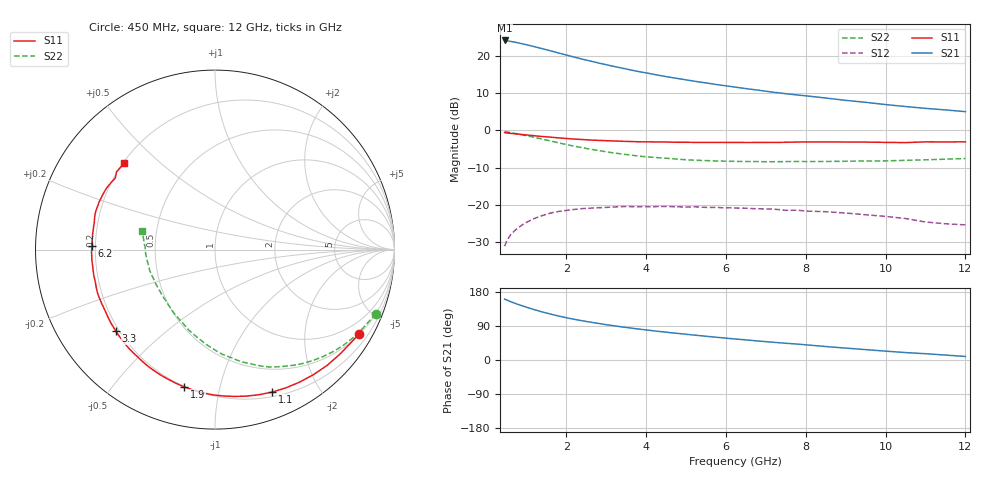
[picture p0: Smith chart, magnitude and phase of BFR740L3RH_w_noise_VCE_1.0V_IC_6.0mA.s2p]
! (c) 2012  Infineon Technologies AG, Munich
! Infineon Technologies  Discrete & RF Semiconductors
! BFR740L3RH
! VCE =  1.0 V,  IC =  6.0 mA
! Common Emitter S-Parameters:  May 2012
# GHz  S  MA  R  50
!  f  S11  S21  S12  S22
! GHz  MAG  ANG  MAG  ANG  MAG  ANG  MAG  ANG
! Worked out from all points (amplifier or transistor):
!   85 points, 450 MHz to 12 GHz, reference 50 ohm
!   highest |S21| = 24.1 dB at 450 MHz (marker M1)
!   |S21| within 3 dB of that: start of sweep to 1.678 GHz
!   unconditionally stable (mu >= 1): 9.051 GHz to end of sweep
!   at 1.8 GHz: K = 0.14, MSG = 21.2 dB, |S12| = -21.8 dB
!   at 4.6 GHz: K = 0.39, MSG = 17.3 dB, |S12| = -20.4 dB
!   at 12 GHz: K = 2.03, MAG = 9.4 dB, |S12| = -25.4 dB
!   lowest NFmin = 0.43 dB at 450 MHz
!   S11 on the Smith chart (normalised r, x): 450 MHz: 0.52, -3.59; 1.1 GHz: 0.25, -1.45; 1.9 GHz: 0.20, -0.78; 3.3 GHz: 0.19, -0.35; 6.2 GHz: 0.19, +0.01; 12 GHz: 0.20, +0.39
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0.45  0.9292 -30.6  15.98 160.6  0.028 68.4  0.9633 -21.7
0.6  0.9079 -39.8  15.53 154.0  0.0399 65.8  0.9311 -28.5
0.7  0.8979 -46.0  15.18 150.0  0.045 62.7  0.9116 -32.8
0.9  0.8761 -57.4  14.39 142.6  0.0544 56.9  0.8687 -41.0
1.1  0.8554 -68.1  13.59 135.9  0.0623 50.6  0.8245 -48.5
1.2  0.8452 -73.0  13.19 132.7  0.0659 47.7  0.8024 -52.2
1.4  0.8253 -82.5  12.37 126.6  0.0721 42.4  0.7593 -58.8
1.7  0.8004 -95.1  11.23 118.6  0.08 35.8  0.6996 -68.2
1.9  0.784 -102.7  10.52 113.7  0.0829 32.5  0.6605 -73.6
2.1  0.7686 -109.6  9.859 109.3  0.0859 28.6  0.6273 -78.8
2.4  0.7515 -118.7  8.972 103.5  0.0893 23.7  0.5845 -86.0
2.8  0.7326 -129.1  7.989 96.5  0.0917 18.3  0.5357 -94.3
3.3  0.7154 -140.5  6.974 88.7  0.0943 13.2  0.488 -103.9
3.7  0.7042 -148.2  6.288 83.1  0.0947 8.7  0.4589 -110.8
4.3  0.6985 -157.7  5.476 75.6  0.0953 4.6  0.4292 -119.8
5.2  0.6886 -170.3  4.554 65.7  0.0943 -1.9  0.3977 -132.4
6.2  0.6865 178.5  3.806 55.7  0.0909 -7.8  0.3839 -144.8
6.3  0.6866 177.5  3.742 54.8  0.0905 -8.2  0.3828 -145.9
7.2  0.6886 169.0  3.229 46.7  0.0876 -12.3  0.3793 -156.1
8.5  0.6979 157.4  2.704 35.5  0.0811 -19.6  0.3821 -169.4
10.5  0.6839 144.2  2.081 19.6  0.0657 -26.0  0.396 175.1
12  0.7002 136.3  1.777 9.3  0.054 -24.4  0.4181 165.7
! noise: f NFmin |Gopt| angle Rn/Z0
0.45  0.43  0.42  3  0.14
0.9  0.45  0.41  16  0.13
1.5  0.47  0.42  30  0.11
1.9  0.5  0.43  38  0.11
2.4  0.53  0.42  50  0.11
3.5  0.62  0.43  68  0.09
5.5  0.82  0.44  100  0.09
8  1.08  0.41  138  0.08
10  1.28  0.43  164  0.06
12  1.48  0.46  -164  0.05
